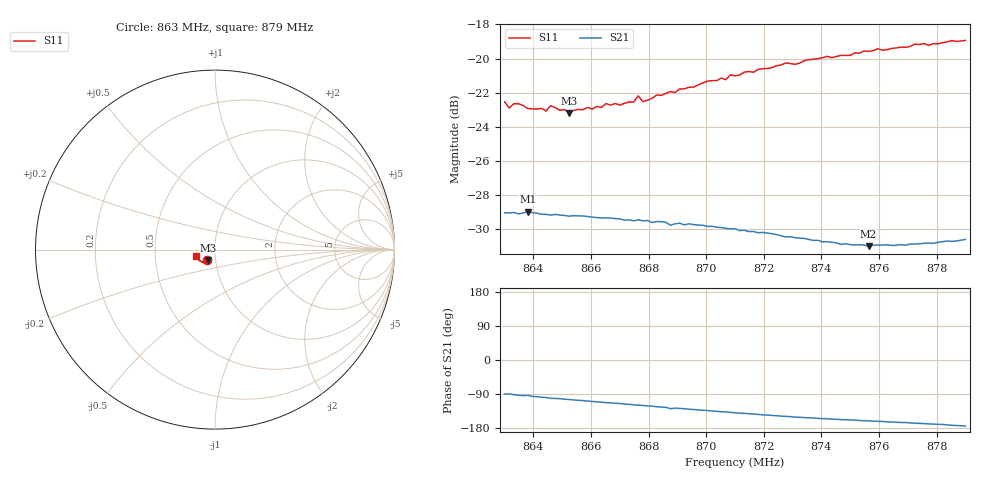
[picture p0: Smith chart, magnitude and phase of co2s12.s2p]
# HZ S RI R 50
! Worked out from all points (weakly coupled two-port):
!   101 points, 863 MHz to 879 MHz, reference 50 ohm
!   highest |S21| = -28.99 dB at 863.8 MHz (marker M1); lowest = -31.0 dB at 875.64 MHz (marker M2)
!   lowest |S11| = -23.2 dB at 865.24 MHz (marker M3), VSWR 1.15, Z = 46 - j5.31 ohm
!   |S11| at or under -10 dB: start of sweep to end of sweep
!   S12 and S22 are empty: the file has one direction only
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8.63e8  -0.0456 -0.0591  0.000176 -0.0353  0 0  0 0
8.6316e8  -0.0411 -0.0586  0.000296 -0.0352  0 0  0 0
8.6348e8  -0.0441 -0.0591  -0.00184 -0.035  0 0  0 0
8.638e8  -0.0398 -0.0592  -0.00197 -0.0355  0 0  0 0
8.6444e8  -0.0404 -0.0574  -0.0054 -0.0345  0 0  0 0
8.646e8  -0.0422 -0.0593  -0.00671 -0.0341  0 0  0 0
8.6524e8  -0.0387 -0.0575  -0.00856 -0.0334  0 0  0 0
8.6572e8  -0.0377 -0.0599  -0.0102 -0.033  0 0  0 0
8.6636e8  -0.0399 -0.0598  -0.0124 -0.0317  0 0  0 0
8.6652e8  -0.0389 -0.0627  -0.013 -0.0315  0 0  0 0
8.67e8  -0.0385 -0.062  -0.0142 -0.0307  0 0  0 0
8.6748e8  -0.0379 -0.0642  -0.0159 -0.0294  0 0  0 0
8.6764e8  -0.0405 -0.0664  -0.0163 -0.0294  0 0  0 0
8.678e8  -0.039 -0.0638  -0.0167 -0.0289  0 0  0 0
8.6844e8  -0.0406 -0.0666  -0.0187 -0.0275  0 0  0 0
8.6876e8  -0.0414 -0.0685  -0.0202 -0.0254  0 0  0 0
8.6908e8  -0.044 -0.0685  -0.0202 -0.026  0 0  0 0
8.71e8  -0.052 -0.0722  -0.024 -0.0207  0 0  0 0
8.7372e8  -0.0706 -0.0702  -0.0261 -0.0133  0 0  0 0
8.7564e8  -0.0846 -0.0621  -0.0266 -0.00935  0 0  0 0
8.7644e8  -0.0905 -0.0571  -0.0272 -0.00787  0 0  0 0
8.79e8  -0.1067 -0.0372  -0.0293 -0.00289  0 0  0 0
